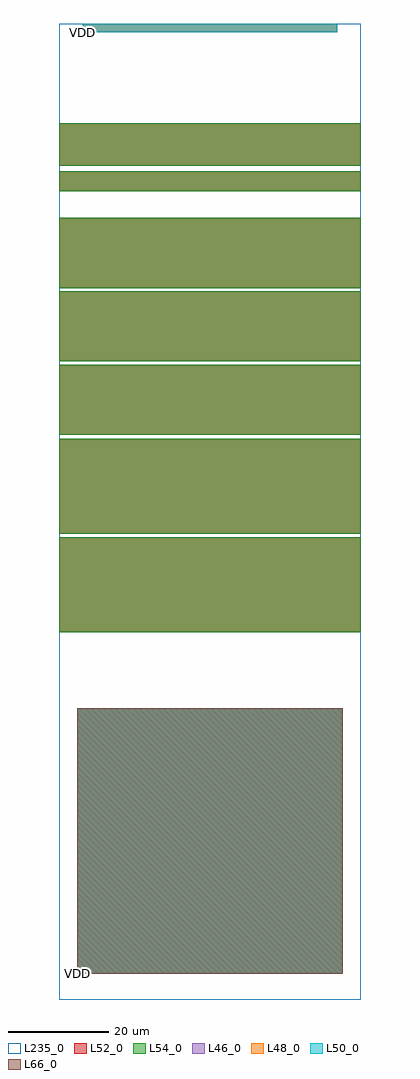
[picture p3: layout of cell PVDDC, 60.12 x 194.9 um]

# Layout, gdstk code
import gdstk
lib = gdstk.Library(unit=1e-6, precision=1e-09)
def R(c, l, rs):  # rectangles x0, y0, x1, y1
    for r in rs: c.add(gdstk.rectangle(r[:2], r[2:], *l))
L46_0 = (46, 0)
L48_0 = (48, 0)
L50_0 = (50, 0)
L52_0 = (52, 0)
L54_0 = (54, 0)
L66_0 = (66, 0)
L235_0 = (235, 0)

pvddc = lib.new_cell('PVDDC')
R(pvddc, L46_0, [(3.56,5.18,56.56,58.18), (4.66,193.14,55.46,194.9)])
R(pvddc, L48_0, [(3.56,5.18,56.56,58.18), (4.66,193.14,55.46,194.9)])
R(pvddc, L50_0, [(3.56,5.18,56.56,58.18), (4.66,193.14,55.46,194.9)])
R(pvddc, L52_0, [(3.56,5.18,56.56,58.18), (0,73.3,60.12,92.3), (0,92.99,60.12,111.99), (0,112.79,60.12,126.79), (0,127.44,60.12,141.44), (0,142.08,60.12,156.08), (0,161.39,60.12,165.39), (0,166.47,60.12,174.97)])
R(pvddc, L54_0, [(3.56,5.18,56.56,58.18), (0,73.3,60.12,92.3), (0,92.99,60.12,111.99), (0,112.79,60.12,126.79), (0,127.44,60.12,141.44), (0,142.08,60.12,156.08), (0,161.39,60.12,165.39), (0,166.47,60.12,174.97)])
R(pvddc, L66_0, [(3.56,5.18,56.56,58.18)])
R(pvddc, L235_0, [(0,0,60.12,194.9)])
pvddc.add(gdstk.Label('VDD', (4.66,193.14), layer=101, texttype=0))
pvddc.add(gdstk.Label('VDD', (3.56,5.18), layer=101, texttype=0))
pvddc.add(gdstk.Label('VDD', (4.66,193.14), layer=102, texttype=0))
pvddc.add(gdstk.Label('VDD', (3.56,5.18), layer=102, texttype=0))
pvddc.add(gdstk.Label('VDD', (4.66,193.14), layer=103, texttype=0))
pvddc.add(gdstk.Label('VDD', (3.56,5.18), layer=103, texttype=0))
pvddc.add(gdstk.Label('VDD', (3.56,5.18), layer=104, texttype=0))
pvddc.add(gdstk.Label('VDD', (3.56,5.18), layer=105, texttype=0))

lib.write_gds('PVDDC.gds')
